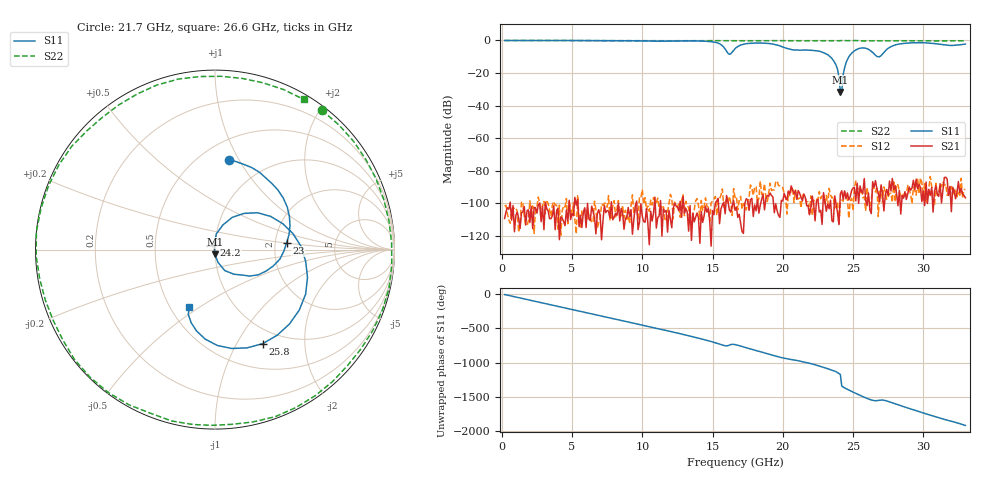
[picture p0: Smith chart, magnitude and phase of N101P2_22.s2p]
# GHZ S RI R 50
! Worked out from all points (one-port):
!   329 points, 200 MHz to 33 GHz, reference 50 ohm
!   lowest |S11| = -31.7 dB at 24.1 GHz (marker M1), VSWR 1.05, Z = 49.8 - j2.6 ohm
!   |S11| at or under -10 dB: 23.37 GHz to 24.71 GHz (1.333 GHz wide, 5.55 % of centre); 26.77146 GHz to 26.85661 GHz (85.14 MHz wide, 0.318 % of centre)
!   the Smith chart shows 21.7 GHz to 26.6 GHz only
!   S11 on the Smith chart (normalised r, x): 21.7 GHz: 0.68, +0.91; 23 GHz: 2.31, +0.21; 24.2 GHz: 0.99, +0.05; 25.8 GHz: 0.81, -1.29; 26.6 GHz: 0.62, -0.45
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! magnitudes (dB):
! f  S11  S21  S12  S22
! 200 MHz  0.0  -109.3  -101.7  0.0
! 5.7 GHz  0.0  -114.9  -104.8  -0.1
! 11.2 GHz  -0.5  -107.9  -103.5  -0.2
! 15.2 GHz  -1.2  -100.1  -95.8  -0.1
! 16.2 GHz  -8.5  -104.1  -95.8  -0.2
! 16.6 GHz  -5.1  -104.3  -96.5  -0.2
! 18.4 GHz  -1.6  -101.2  -86.4  -0.1
! 21.7 GHz  -5.9  -101.5  -99.2  -0.2
! 22.1 GHz  -6.1  -95.6  -107.3  -0.2
! 23 GHz  -8.0  -99.3  -101.1  -0.2
! 23.8 GHz  -15.2  -100.8  -102.1  -0.2
! 24 GHz  -22.7  -113.1  -113.6  -0.2
! 24.1 GHz  -31.7  -94.1  -98.9  -0.1
! 24.2 GHz  -31.5  -92.3  -98.0  -0.1
! 24.3 GHz  -21.2  -97.5  -98.8  0.0
! 24.4 GHz  -16.8  -92.4  -92.9  -0.1
! 24.7 GHz  -10.1  -97.9  -109.3  -0.1
! 25.8 GHz  -4.6  -84.8  -96.1  -0.3
! 26.6 GHz  -9.1  -86.1  -93.1  -0.2
! 26.9 GHz  -9.9  -98.9  -91.8  -0.2
! 27.6 GHz  -4.3  -86.4  -93.9  -0.3
! 33 GHz  -2.3  -96.6  -91.5  -0.3
